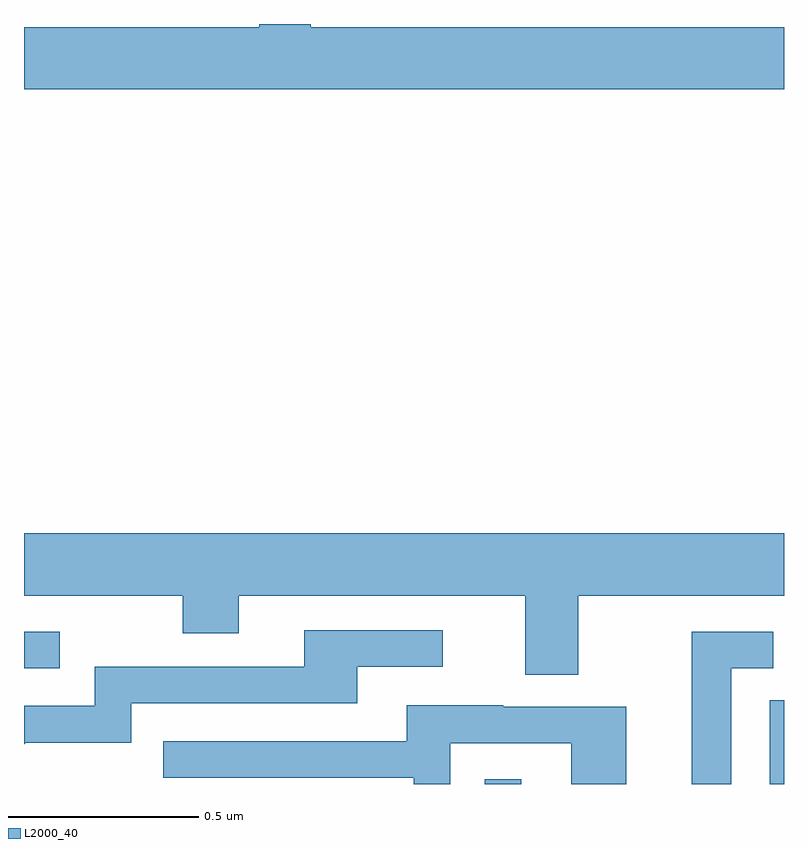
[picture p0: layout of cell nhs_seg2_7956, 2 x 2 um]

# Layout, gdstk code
import gdstk
lib = gdstk.Library(unit=1e-6, precision=1e-09)
def R(c, l, rs):  # rectangles x0, y0, x1, y1
    for r in rs: c.add(gdstk.rectangle(r[:2], r[2:], *l))
def P(c, l, *ps):  # polygons
    for p in ps: c.add(gdstk.Polygon(p, *l))
L2000_40 = (2000, 40)

nhs_seg2_7956 = lib.new_cell('nhs_seg2_7956')
R(nhs_seg2_7956, L2000_40, [(211.212,653.8,211.309,653.812), (211.962,653.8,212,654.02), (210,654.105,210.094,654.201)])
P(nhs_seg2_7956, L2000_40, [(212,655.792),(210.755,655.792),(210.755,655.8),(210.619,655.8),(210.619,655.792),(210,655.792),(210,655.628),(212,655.628)],
  [(211.459,654.296),(212,654.296),(212,654.46),(210,654.46),(210,654.296),(210.418,654.296),(210.418,654.197),(210.565,654.197),(210.565,654.296),(211.319,654.296),(211.319,654.088),(211.459,654.088)],
  [(210.005,653.909),(210.282,653.909),(210.282,654.012),(210.877,654.012),(210.877,654.108),(211.102,654.108),(211.102,654.204),(210.737,654.204),(210.737,654.108),(210.186,654.108),(210.186,654.006),(210,654.006),(210,653.904)],
  [(211.861,654.105),(211.972,654.105),(211.972,654.201),(211.757,654.201),(211.757,653.8),(211.861,653.8)],
  [(211.122,653.907),(211.44,653.907),(211.44,653.8),(211.585,653.8),(211.585,654.003),(211.261,654.003),(211.261,654.007),(211.007,654.007),(211.007,653.913),(210.367,653.913),(210.367,653.817),(211.026,653.817),(211.026,653.8),(211.122,653.8)])

lib.write_gds('nhs_seg2_7956.gds')
